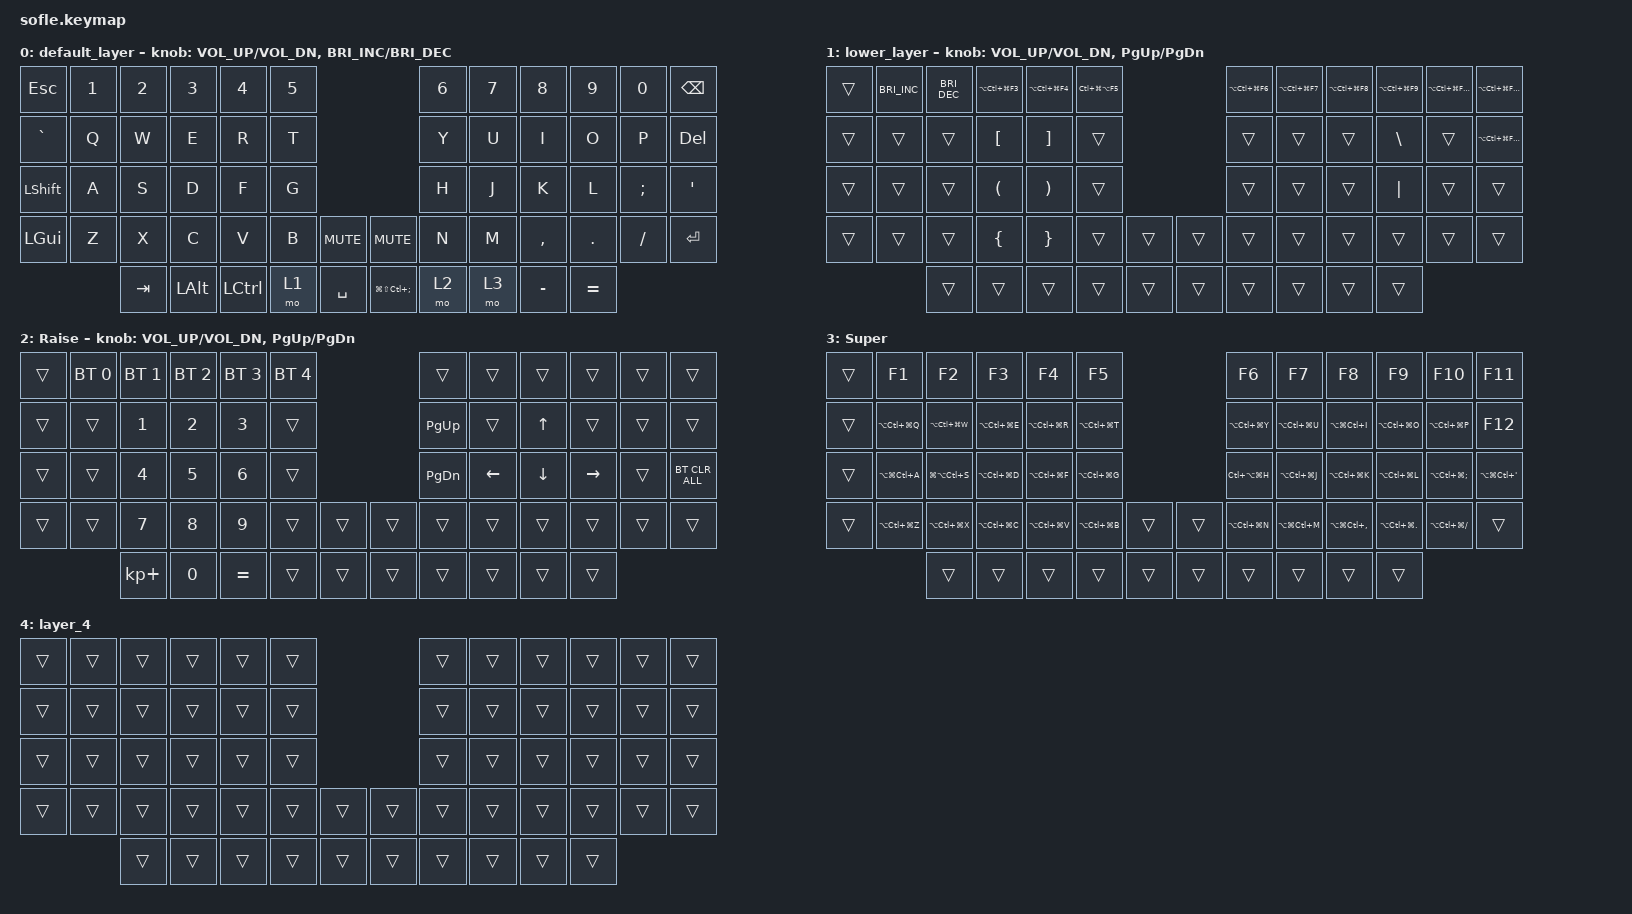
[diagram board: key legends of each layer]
/*
 * Copyright (c) 2020 The ZMK Contributors
 *
 * SPDX-License-Identifier: MIT
 */

#include <behaviors.dtsi>
#include <dt-bindings/zmk/bt.h>
#include <dt-bindings/zmk/keys.h>

&nice_view_spi { cs-gpios = <&pro_micro 0 GPIO_ACTIVE_HIGH>; };

/ {
    keymap {
        compatible = "zmk,keymap";

        default_layer {
            // ------------------------------------------------------------------------------------------------------------
            // |  `    |  1  |  2  |  3   |  4   |  5   |                   |  6   |  7    |  8    |  9   |   0   |       |
            // |  ESC  |  Q  |  W  |  E   |  R   |  T   |                   |  Y   |  U    |  I    |  O   |   P   | BKSPC |
            // |  TAB  |  A  |  S  |  D   |  F   |  G   |                   |  H   |  J    |  K    |  L   |   ;   |   '   |
            // | SHIFT |  Z  |  X  |  C   |  V   |  B   |  MUTE  |  |       |  N   |  M    |  ,    |  .   |   /   | SHIFT |
            //               | GUI | ALT  | CTRL | LOWER|  ENTER |  | SPACE | RAISE| CTRL  | ALT   | GUI  |

            bindings = <
&kp ESCAPE      &kp N1  &kp N2   &kp N3    &kp N4     &kp N5                                           &kp N6  &kp N7  &kp N8     &kp N9     &kp N0    &kp BACKSPACE
&kp GRAVE       &kp Q   &kp W    &kp E     &kp R      &kp T                                            &kp Y   &kp U   &kp I      &kp O      &kp P     &kp DEL
&kp LEFT_SHIFT  &kp A   &kp S    &kp D     &kp F      &kp G                                            &kp H   &kp J   &kp K      &kp L      &kp SEMI  &kp SQT
&kp LEFT_GUI    &kp Z   &kp X    &kp C     &kp V      &kp B   &kp C_MUTE    &kp C_MUTE                 &kp N   &kp M   &kp COMMA  &kp DOT    &kp FSLH  &kp ENTER
                        &kp TAB  &kp LALT  &kp LCTRL  &mo 1   &kp SPACE     &kp LG(LS(LC(SEMICOLON)))  &mo 2   &mo 3   &kp MINUS  &kp EQUAL
            >;

            sensor-bindings =
                <&inc_dec_kp C_VOL_UP C_VOL_DN>,
                <&inc_dec_kp C_BRIGHTNESS_INC C_BRIGHTNESS_DEC>;
        };

        lower_layer {
            // TODO: Some binds are waiting for shifted keycode support.
            // ------------------------------------------------------------------------------------------------------------
            // | `     |  F1 |  F2 |  F3  |  F4  |  F5  |                   |  F6  |  F7   |  F8   |  F9  |  F10  |  F11  |
            // | RAISE |   1 |   2 |   3  |   4  |   5  |                   |   6  |   7   |   8   |   9  |    0  |  F12  |
            // |       |  !  |  @  |  #   |  $   |  %   |                   |  ^   |  &    |  *    |  (   |   )   |   |   |
            // |       |  =  |  -  |  +   |  {   |  }   |        |  |       |  [   |  ]    |  ;    |  :   |   \   |       |
            //               |     |      |      |      |        |  |       |      |       |       |      |

            bindings = <
&trans  &kp C_BRIGHTNESS_INC  &kp C_BRIGHTNESS_DEC  &kp LA(LC(LG(F3)))    &kp LA(LC(LG(F4)))     &kp LC(LG(LA(F5)))                    &kp LA(LC(LG(F6)))  &kp LA(LC(LG(F7)))  &kp LA(LC(LG(F8)))  &kp LA(LC(LG(F9)))  &kp LA(LC(LG(F10)))  &kp LA(LC(LG(F11)))
&trans  &trans                &trans                &kp LEFT_BRACKET      &kp RIGHT_BRACKET      &trans                                &trans              &trans              &trans              &kp BACKSLASH       &trans               &kp LA(LC(LG(F12)))
&trans  &trans                &trans                &kp LEFT_PARENTHESIS  &kp RIGHT_PARENTHESIS  &trans                                &trans              &trans              &trans              &kp PIPE            &trans               &trans
&trans  &trans                &trans                &kp LEFT_BRACE        &kp RIGHT_BRACE        &trans              &trans    &trans  &trans              &trans              &trans              &trans              &trans               &trans
                              &trans                &trans                &trans                 &trans              &trans    &trans  &trans              &trans              &trans              &trans
            >;

            sensor-bindings = <&inc_dec_kp C_VOL_UP C_VOL_DN &inc_dec_kp PG_UP PG_DN>;
        };

        Raise {
            // ------------------------------------------------------------------------------------------------------------
            // |BTCLR| BT1  | BT2  |  BT3  |  BT4  |  BT5 |                |      |      |       |      |       |       |
            // |     | INS  | PSCR | GUI   |       |      |                | PGUP |      |       |      |       |       |
            // |     | ALT  | CTRL | SHIFT |       | CAPS |                |  <-  |   v  |   ^   |  ->  |  DEL  | BKSPC |
            // |     | UNDO | CUT  | COPY  | PASTE |      |      |  |      |      |      |       |      |       |       |
            //              |      |       |       |      |      |  |      |      |      |       |      |

            bindings = <
&trans  &bt BT_SEL 0  &bt BT_SEL 1  &bt BT_SEL 2  &bt BT_SEL 3  &bt BT_SEL 4                    &trans         &trans    &trans        &trans     &trans  &trans
&trans  &trans        &kp N1        &kp N2        &kp N3        &trans                          &kp PG_UP      &trans    &kp UP_ARROW  &trans     &trans  &trans
&trans  &trans        &kp N4        &kp N5        &kp N6        &trans                          &kp PAGE_DOWN  &kp LEFT  &kp DOWN      &kp RIGHT  &trans  &bt BT_CLR_ALL
&trans  &trans        &kp N7        &kp N8        &kp N9        &trans        &trans    &trans  &trans         &trans    &trans        &trans     &trans  &trans
                      &kp KP_PLUS   &kp N0        &kp EQUAL     &trans        &trans    &trans  &trans         &trans    &trans        &trans
            >;

            sensor-bindings = <&inc_dec_kp C_VOL_UP C_VOL_DN &inc_dec_kp PG_UP PG_DN>;
        };

        Super {
            bindings = <
&trans  &kp F1             &kp F2             &kp F3             &kp F4             &kp F5                               &kp F6             &kp F7             &kp F8                 &kp F9               &kp F10               &kp F11
&trans  &kp LA(LC(LG(Q)))  &kp LA(LC(LG(W)))  &kp LA(LC(LG(E)))  &kp LA(LC(LG(R)))  &kp LA(LC(LG(T)))                    &kp LA(LC(LG(Y)))  &kp LA(LC(LG(U)))  &kp LA(LG(LC(I)))      &kp LA(LC(LG(O)))    &kp LA(LC(LG(P)))     &kp F12
&trans  &kp LA(LG(LC(A)))  &kp LG(LA(LC(S)))  &kp LA(LC(LG(D)))  &kp LA(LC(LG(F)))  &kp LA(LC(LG(G)))                    &kp LC(LA(LG(H)))  &kp LA(LC(LG(J)))  &kp LA(LC(LG(K)))      &kp LA(LC(LG(L)))    &kp LA(LC(LG(SEMI)))  &kp LA(LG(LC(APOS)))
&trans  &kp LA(LC(LG(Z)))  &kp LA(LC(LG(X)))  &kp LA(LC(LG(C)))  &kp LA(LC(LG(V)))  &kp LA(LC(LG(B)))  &trans    &trans  &kp LA(LC(LG(N)))  &kp LA(LG(LC(M)))  &kp LA(LG(LC(COMMA)))  &kp LA(LC(LG(DOT)))  &kp LA(LC(LG(FSLH)))  &trans
                           &trans             &trans             &trans             &trans             &trans    &trans  &trans             &trans             &trans                 &trans
            >;
        };

        layer_4 {
            bindings = <
&trans  &trans  &trans  &trans  &trans  &trans                    &trans  &trans  &trans  &trans  &trans  &trans
&trans  &trans  &trans  &trans  &trans  &trans                    &trans  &trans  &trans  &trans  &trans  &trans
&trans  &trans  &trans  &trans  &trans  &trans                    &trans  &trans  &trans  &trans  &trans  &trans
&trans  &trans  &trans  &trans  &trans  &trans  &trans    &trans  &trans  &trans  &trans  &trans  &trans  &trans
                &trans  &trans  &trans  &trans  &trans    &trans  &trans  &trans  &trans  &trans
            >;
        };
    };
};
